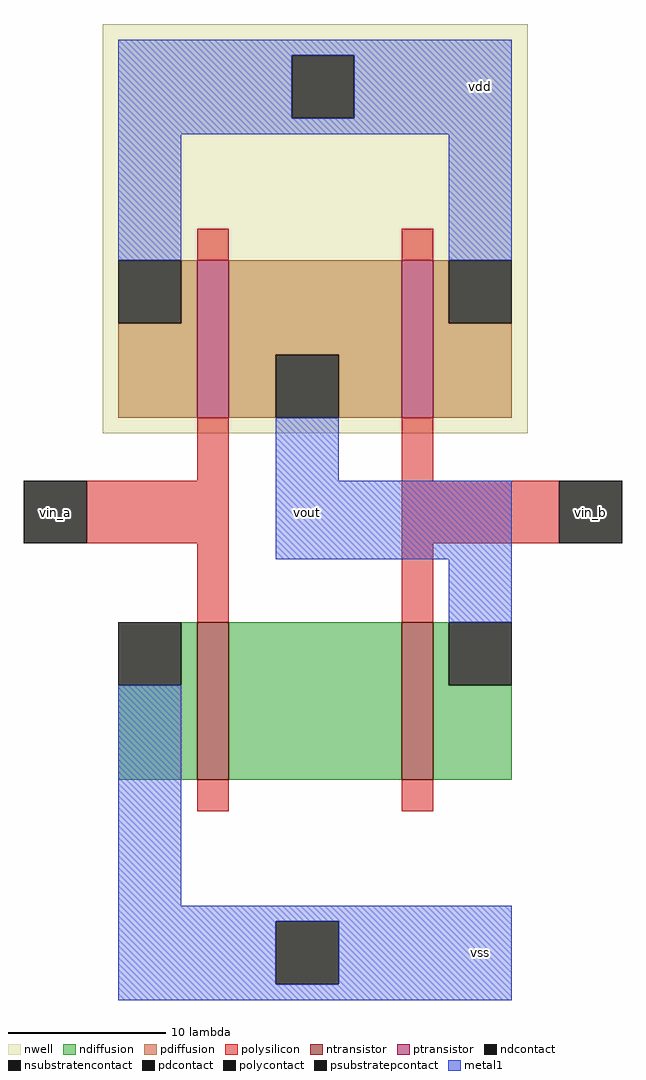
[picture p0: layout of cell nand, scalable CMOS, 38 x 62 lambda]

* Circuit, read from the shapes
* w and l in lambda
.subckt nand vdd vin_a vin_b vout vss
M1 n1 vin_a vss vss nfet w=10 l=2
M2 vout vin_b n1 vss nfet w=10 l=2
M3 vout vin_a vdd vdd pfet w=10 l=2
M4 vdd vin_b vout vdd pfet w=10 l=2
.ends

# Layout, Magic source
magic
tech scmos
<< nwell >>
rect -19 21 8 47
<< polysilicon >>
rect -13 32 -11 34
rect 0 32 2 34
rect -13 18 -11 22
rect -20 14 -11 18
rect -13 9 -11 14
rect 0 18 2 22
rect 0 14 10 18
rect 0 9 2 14
rect -13 -3 -11 -1
rect 0 -3 2 -1
<< ndiffusion >>
rect -14 5 -13 9
rect -18 -1 -13 5
rect -11 -1 0 9
rect 2 5 3 9
rect 2 -1 7 5
<< pdiffusion >>
rect -14 28 -13 32
rect -18 22 -13 28
rect -11 26 0 32
rect -11 22 -8 26
rect -4 22 0 26
rect 2 28 3 32
rect 2 22 7 28
<< metal1 >>
rect -18 45 7 46
rect -18 41 -7 45
rect -3 41 7 45
rect -18 40 7 41
rect -18 32 -14 40
rect 3 32 7 40
rect -8 18 -4 22
rect -8 13 7 18
rect 3 9 7 13
rect -18 -9 -14 5
rect -18 -10 7 -9
rect -18 -14 -8 -10
rect -4 -14 7 -10
rect -18 -15 7 -14
<< ntransistor >>
rect -13 -1 -11 9
rect 0 -1 2 9
<< ptransistor >>
rect -13 22 -11 32
rect 0 22 2 32
<< polycontact >>
rect -24 14 -20 18
rect 10 14 14 18
<< ndcontact >>
rect -18 5 -14 9
rect 3 5 7 9
<< pdcontact >>
rect -18 28 -14 32
rect -8 22 -4 26
rect 3 28 7 32
<< psubstratepcontact >>
rect -8 -14 -4 -10
<< nsubstratencontact >>
rect -7 41 -3 45
<< labels >>
rlabel metal1 3 41 7 45 3 vdd
rlabel metal1 3 -14 7 -10 3 vss
rlabel polycontact 10 14 14 18 3 vin_b
rlabel polycontact -24 14 -20 18 7 vin_a
rlabel metal1 -8 14 -4 18 5 vout
<< end >>
